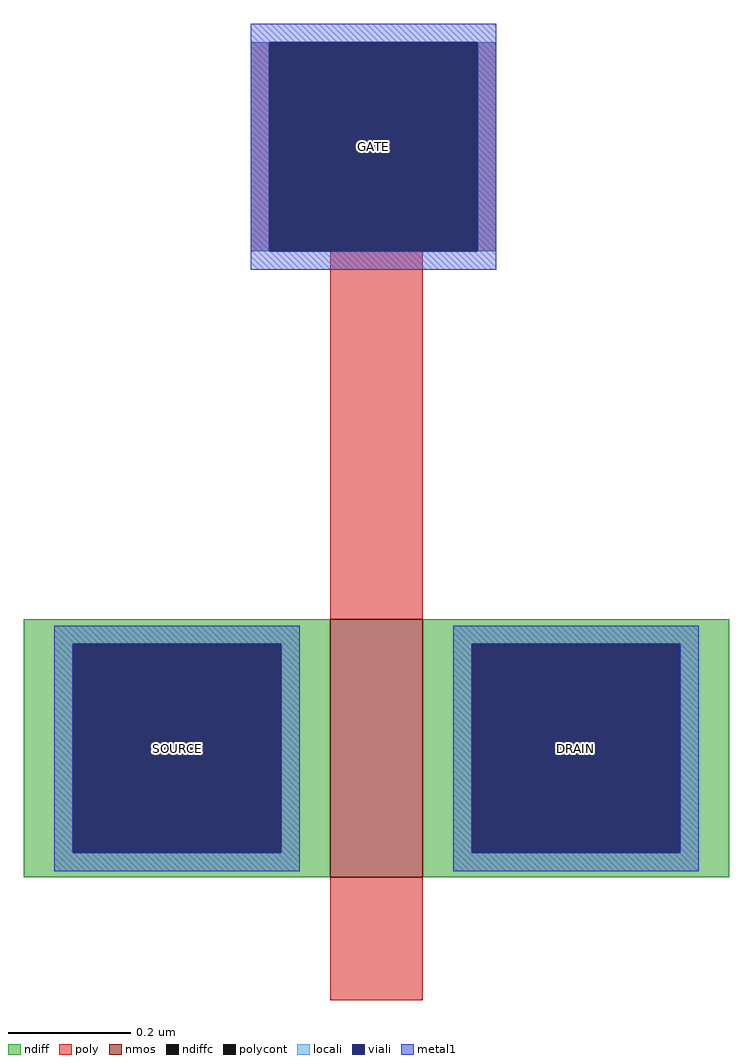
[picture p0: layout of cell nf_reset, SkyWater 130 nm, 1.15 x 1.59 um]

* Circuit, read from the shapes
.subckt nf_reset SOURCE DRAIN GATE
XM1 DRAIN GATE SOURCE VSUBS sky130_fd_pr__nfet_01v8 w=0.42 l=0.15
.ends

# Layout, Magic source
magic
tech sky130A
<< nmos >>
rect 50 0 65 42
<< ndiff >>
rect 0 38 50 42
rect 0 4 8 38
rect 42 4 50 38
rect 0 0 50 4
rect 65 38 115 42
rect 65 4 73 38
rect 107 4 115 38
rect 65 0 115 4
<< ndiffc >>
rect 8 4 42 38
rect 73 4 107 38
<< poly >>
rect 37 102 40 136
rect 74 102 77 136
rect 50 42 65 102
rect 50 -20 65 0
<< polycont >>
rect 40 102 74 136
<< locali >>
rect 37 102 40 136
rect 74 102 77 136
<< viali >>
rect 40 102 74 136
rect 8 4 42 38
rect 73 4 107 38
<< metal1 >>
rect 37 136 77 139
rect 37 102 40 136
rect 74 102 77 136
rect 37 99 77 102
rect 5 38 45 41
rect 5 4 8 38
rect 42 4 45 38
rect 5 1 45 4
rect 70 38 110 41
rect 70 4 73 38
rect 107 4 110 38
rect 70 1 110 4
<< labels >>
flabel metal1 s 5 1 45 41 0 FreeSans 200 0 0 0 SOURCE
port 1 nsew
flabel metal1 s 70 1 110 41 0 FreeSans 200 0 0 0 DRAIN
port 2 nsew
flabel metal1 s 37 99 77 139 0 FreeSans 200 0 0 0 GATE
port 3 nsew
<< end >>
